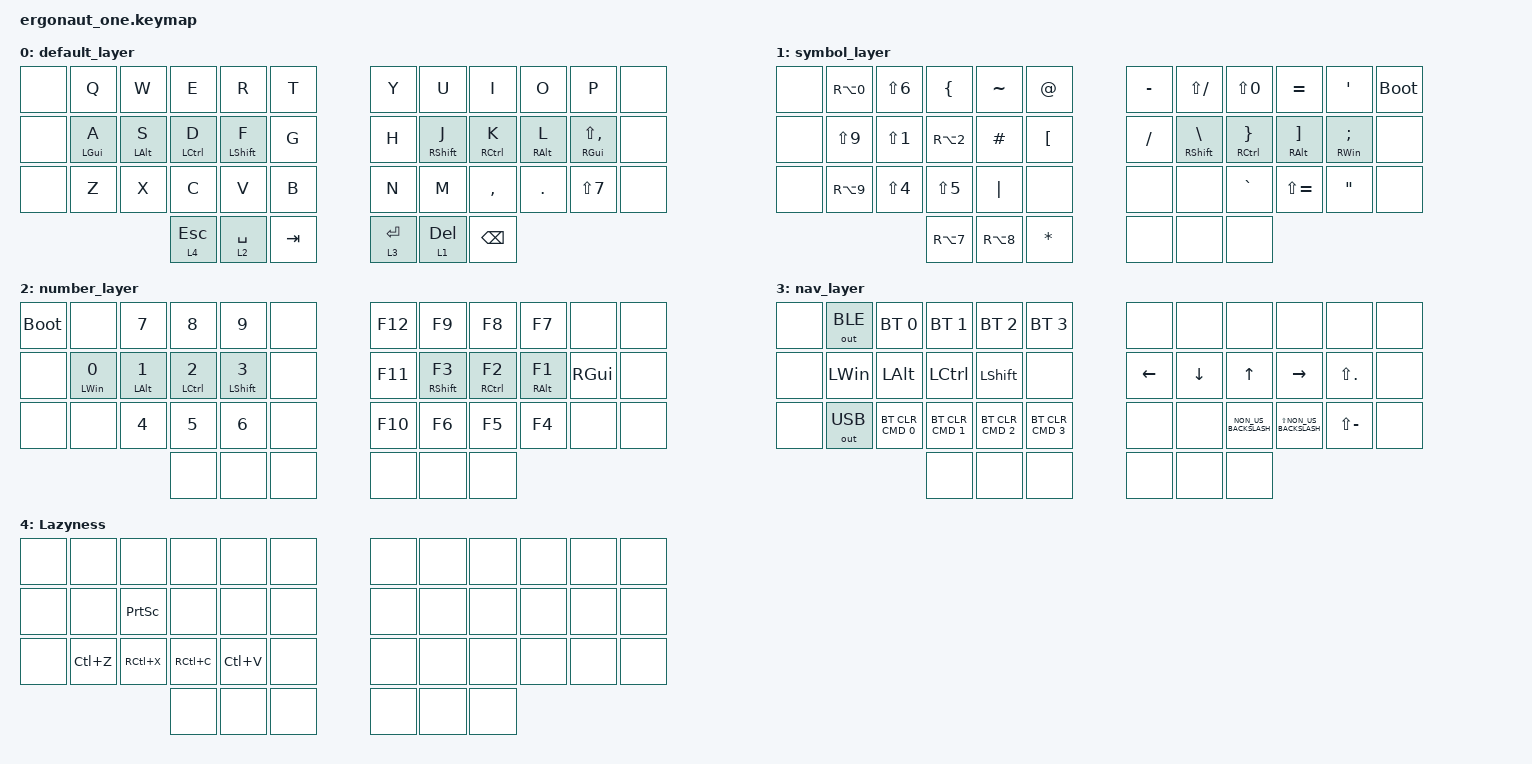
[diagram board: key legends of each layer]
#include <behaviors.dtsi>
#include <dt-bindings/zmk/bt.h>
#include <dt-bindings/zmk/keys.h>
#include <dt-bindings/zmk/outputs.h>

#define DEF 0
#define LWR 1
#define RSE 2
#define ADJ 3

&lt { quick-tap-ms = <200>; };

&mt { quick-tap-ms = <200>; };

/ {
    conditional_layers { compatible = "zmk,conditional-layers"; };

    behaviors {
        hm: homerow_mods {
            compatible = "zmk,behavior-hold-tap";
            label = "HOMEROW_MODS";
            bindings = <&kp>, <&kp>;

            #binding-cells = <2>;
            tapping-term-ms = <200>;
            quick-tap-ms = <250>;
            flavor = "balanced";
        };
    };

    combos { compatible = "zmk,combos"; };

    keymap {
        compatible = "zmk,keymap";

        default_layer {
            bindings = <
&none  &kp Q       &kp W       &kp E        &kp R         &kp T    &kp Y        &kp U         &kp I          &kp O       &kp P               &none
&none  &hm LGUI A  &hm LALT S  &hm LCTRL D  &hm LSHIFT F  &kp G    &kp H        &hm RSHIFT J  &hm RCTRL K    &hm RALT L  &hm RGUI LS(COMMA)  &none
&none  &kp Z       &kp X       &kp C        &kp V         &kp B    &kp N        &kp M         &kp COMMA      &kp DOT     &kp LS(NUMBER_7)    &none
                               &lt 4 ESC    &lt 2 SPACE   &kp TAB  &lt 3 ENTER  &lt 1 DEL     &kp BACKSPACE
            >;
        };

        symbol_layer {
            bindings = <
&none  &kp RA(NUMBER_0)  &kp LS(NUMBER_6)  &kp LEFT_BRACE    &kp TILDE         &kp AT_SIGN       &kp MINUS  &kp LS(SLASH)              &kp LS(NUMBER_0)               &kp EQUAL                    &kp SQT                  &bootloader
&none  &kp LS(NUMBER_9)  &kp LS(NUMBER_1)  &kp RA(NUMBER_2)  &kp HASH          &kp LEFT_BRACKET  &kp SLASH  &hm RIGHT_SHIFT BACKSLASH  &hm RIGHT_CONTROL RIGHT_BRACE  &hm RIGHT_ALT RIGHT_BRACKET  &hm RIGHT_WIN SEMICOLON  &none
&none  &kp RA(NUMBER_9)  &kp LS(NUMBER_4)  &kp LS(NUMBER_5)  &kp PIPE          &none             &none      &none                      &kp GRAVE                      &kp LS(EQUAL)                &kp DOUBLE_QUOTES        &none
                                           &kp RA(NUMBER_7)  &kp RA(NUMBER_8)  &kp ASTERISK      &none      &none                      &none
            >;
        };

        number_layer {
            bindings = <
&bootloader  &none                  &kp NUMBER_7           &kp NUMBER_8        &kp NUMBER_9             &none  &kp F12  &kp F9              &kp F8                &kp F7       &none          &none
&none        &hm LEFT_WIN NUMBER_0  &hm LEFT_ALT NUMBER_1  &hm LCTRL NUMBER_2  &hm LEFT_SHIFT NUMBER_3  &none  &kp F11  &hm RIGHT_SHIFT F3  &hm RIGHT_CONTROL F2  &hm RALT F1  &kp RIGHT_GUI  &none
&none        &none                  &kp NUMBER_4           &kp NUMBER_5        &kp NUMBER_6             &none  &kp F10  &kp F6              &kp F5                &kp F4       &none          &none
                                                           &none               &none                    &none  &none    &none               &none
            >;
        };

        nav_layer {
            bindings = <
&none  &out OUT_BLE  &bt BT_SEL 0      &bt BT_SEL 1      &bt BT_SEL 2      &bt BT_SEL 3      &none     &none     &none                 &none                     &none           &none
&none  &kp LEFT_WIN  &kp LEFT_ALT      &kp LCTRL         &kp LEFT_SHIFT    &none             &kp LEFT  &kp DOWN  &kp UP                &kp RIGHT                 &kp LS(PERIOD)  &none
&none  &out OUT_USB  &bt BT_CLR_CMD 0  &bt BT_CLR_CMD 1  &bt BT_CLR_CMD 2  &bt BT_CLR_CMD 3  &none     &none     &kp NON_US_BACKSLASH  &kp LS(NON_US_BACKSLASH)  &kp LS(MINUS)   &none
                                       &none             &none             &none             &none     &none     &none
            >;
        };

        Lazyness {
            bindings = <
&none   &none      &none           &none     &none     &none  &none  &none  &none  &none  &none  &none
&none  &none     &kp PRINTSCREEN  &none     &none     &none  &none  &none  &none  &none  &none  &none
&none  &kp LC(Z)  &kp RC(X)        &kp RC(C)  &kp LC(V)  &none  &none  &none  &none  &none  &none  &none
                                    &none     &none     &none  &none  &none  &none
            >;
        };
    };
};
